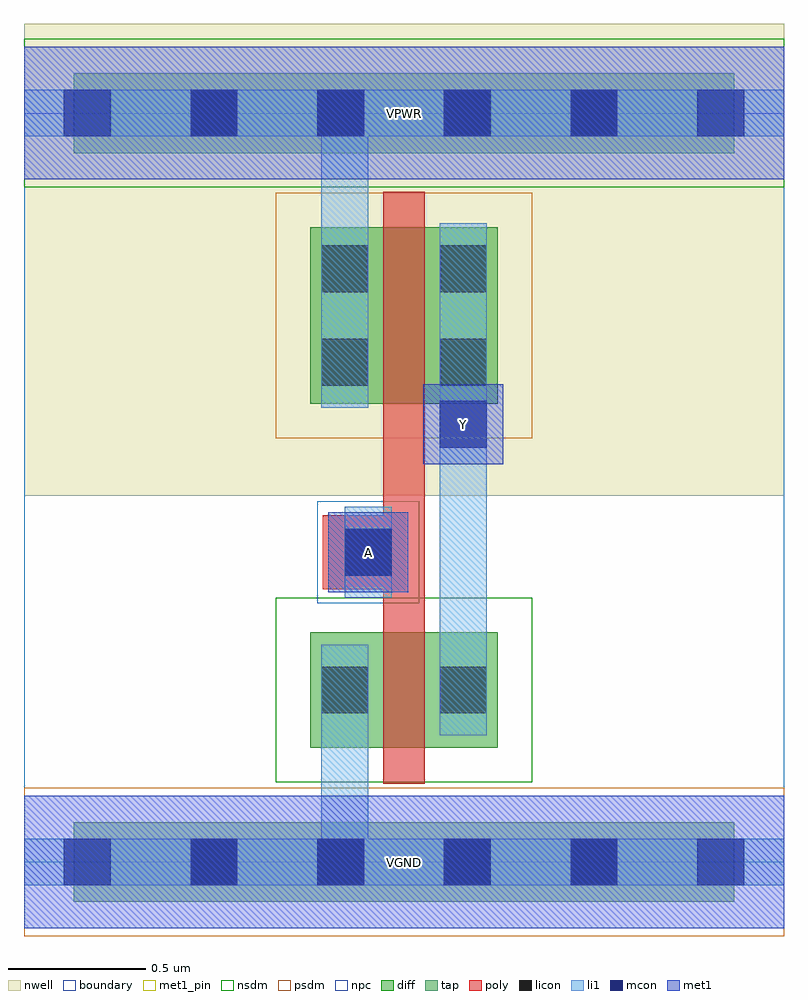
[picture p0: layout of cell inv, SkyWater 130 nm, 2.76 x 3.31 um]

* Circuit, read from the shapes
.subckt inv A VGND VPWR Y
XM1 Y A VGND VGND sky130_fd_pr__nfet_01v8 w=0.42 l=0.15
XM2 Y A VPWR VPWR sky130_fd_pr__pfet_01v8 w=0.64 l=0.15
.ends

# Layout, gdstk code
import gdstk
lib = gdstk.Library(unit=1e-6, precision=1e-09)
def R(c, l, rs):  # rectangles x0, y0, x1, y1
    for r in rs: c.add(gdstk.rectangle(r[:2], r[2:], *l))
def A(c, l, x, y, w, h, nx, ny, dx, dy):  # array of equal rectangles
    R(c, l, [(x+i*dx, y+j*dy, x+i*dx+w, y+j*dy+h) for i in range(nx) for j in range(ny)])
nwell = (64, 20)
diff = (65, 20)
tap = (65, 44)
poly = (66, 20)
licon = (66, 44)
li1 = (67, 20)
mcon = (67, 44)
met1_pin = (68, 16)
met1 = (68, 20)
nsdm = (93, 44)
psdm = (94, 20)
npc = (95, 20)
boundary = (235, 4)

inv = lib.new_cell('inv')
R(inv, nwell, [(0,1.33,2.76,3.045)])
R(inv, diff, [(1.04,0.415,1.72,0.835), (1.04,1.665,1.72,2.305)])
R(inv, tap, [(0.18,-0.145,2.58,0.145), (0.18,2.575,2.58,2.865)])
R(inv, poly, [(1.305,0.285,1.455,2.435), (1.085,0.99,1.415,1.26)])
A(inv, licon, 0.605, -0.085, 0.17, 0.17, 4, 2, 0.46, 2.72)
R(inv, licon, [(1.08,0.54,1.25,0.71), (1.51,0.54,1.68,0.71), (1.165,1.04,1.335,1.21), (1.08,1.73,1.25,1.9), (1.51,1.73,1.68,1.9), (1.08,2.07,1.25,2.24), (1.51,2.07,1.68,2.24)])
R(inv, li1, [(0,-0.085,2.76,0.085), (1.08,-0.085,1.25,0.79), (1.08,0.46,1.25,0.79), (1.51,0.46,1.68,0.79), (1.51,0.46,1.68,2.32), (1.165,0.96,1.335,1.29), (1.08,1.65,1.25,2.32), (1.08,1.65,1.25,2.805), (1.51,1.65,1.68,2.32), (0,2.635,2.76,2.805)])
A(inv, mcon, 0.145, -0.085, 0.17, 0.17, 6, 2, 0.46, 2.72)
R(inv, mcon, [(1.165,1.04,1.335,1.21), (1.51,1.505,1.68,1.675)])
R(inv, met1_pin, [(0,-0.24,2.76,0.24), (1.105,0.98,1.395,1.27), (1.45,1.445,1.74,1.735), (0,2.48,2.76,2.96)])
R(inv, met1, [(0,-0.24,2.76,0.24), (1.105,0.98,1.395,1.27), (1.45,1.445,1.74,1.735), (0,2.48,2.76,2.96)])
R(inv, nsdm, [(0.915,0.29,1.845,0.96), (0,2.45,2.76,2.99)])
R(inv, psdm, [(0,-0.27,2.76,0.27), (0.915,1.54,1.845,2.43)])
R(inv, npc, [(1.065,0.94,1.435,1.31)])
R(inv, boundary, [(0,0,2.76,2.72)])
inv.add(gdstk.Label('A', (1.25,1.125), layer=68, texttype=5))
inv.add(gdstk.Label('Y', (1.595,1.59), layer=68, texttype=5))
inv.add(gdstk.Label('VPWR', (1.38,2.72), layer=68, texttype=5))
inv.add(gdstk.Label('VGND', (1.38,0), layer=68, texttype=5))
inv.add(gdstk.Label('A', (1.25,1.125), layer=68, texttype=16))
inv.add(gdstk.Label('Y', (1.595,1.59), layer=68, texttype=16))
inv.add(gdstk.Label('VPWR', (1.38,2.72), layer=68, texttype=16))
inv.add(gdstk.Label('VGND', (1.38,0), layer=68, texttype=16))

lib.write_gds('inv.gds')
